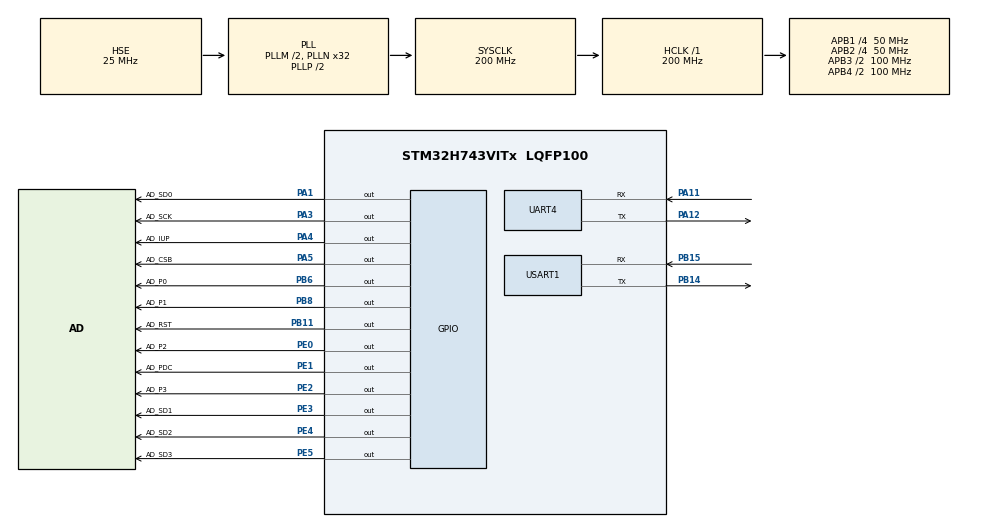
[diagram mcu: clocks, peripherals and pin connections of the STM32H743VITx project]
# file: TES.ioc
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CORTEX_M7.default_mode_Activation=1
Dma.Request0=UART4_RX
Dma.Request1=UART4_TX
Dma.UART4_RX.0.Direction=DMA_PERIPH_TO_MEMORY
Dma.UART4_RX.0.EventEnable=DISABLE
Dma.UART4_RX.0.FIFOMode=DMA_FIFOMODE_DISABLE
Dma.UART4_RX.0.Instance=DMA1_Stream0
Dma.UART4_RX.0.MemDataAlignment=DMA_MDATAALIGN_BYTE
Dma.UART4_RX.0.MemInc=DMA_MINC_ENABLE
Dma.UART4_RX.0.Mode=DMA_NORMAL
Dma.UART4_RX.0.PeriphDataAlignment=DMA_PDATAALIGN_BYTE
Dma.UART4_RX.0.PeriphInc=DMA_PINC_DISABLE
Dma.UART4_RX.0.Polarity=HAL_DMAMUX_REQ_GEN_RISING
Dma.UART4_RX.0.Priority=DMA_PRIORITY_LOW
Dma.UART4_RX.0.RequestNumber=1
Dma.UART4_RX.0.SignalID=NONE
Dma.UART4_RX.0.SyncEnable=DISABLE
Dma.UART4_RX.0.SyncPolarity=HAL_DMAMUX_SYNC_NO_EVENT
Dma.UART4_RX.0.SyncRequestNumber=1
Dma.UART4_RX.0.SyncSignalID=NONE
Dma.UART4_TX.1.Direction=DMA_MEMORY_TO_PERIPH
Dma.UART4_TX.1.EventEnable=DISABLE
Dma.UART4_TX.1.FIFOMode=DMA_FIFOMODE_DISABLE
Dma.UART4_TX.1.Instance=DMA1_Stream1
Dma.UART4_TX.1.MemDataAlignment=DMA_MDATAALIGN_BYTE
Dma.UART4_TX.1.MemInc=DMA_MINC_ENABLE
Dma.UART4_TX.1.Mode=DMA_NORMAL
Dma.UART4_TX.1.PeriphDataAlignment=DMA_PDATAALIGN_BYTE
Dma.UART4_TX.1.PeriphInc=DMA_PINC_DISABLE
Dma.UART4_TX.1.Polarity=HAL_DMAMUX_REQ_GEN_RISING
Dma.UART4_TX.1.Priority=DMA_PRIORITY_LOW
Dma.UART4_TX.1.RequestNumber=1
Dma.UART4_TX.1.SignalID=NONE
Dma.UART4_TX.1.SyncEnable=DISABLE
Dma.UART4_TX.1.SyncPolarity=HAL_DMAMUX_SYNC_NO_EVENT
Dma.UART4_TX.1.SyncRequestNumber=1
Dma.UART4_TX.1.SyncSignalID=NONE
Mcu.Family=STM32H7
Mcu.Name=STM32H743VITx
Mcu.Package=LQFP100
NVIC.DMA1_Stream0_IRQn=true\:0\:0\:false\:false\:true\:false\:true\:true
NVIC.DMA1_Stream1_IRQn=true\:0\:0\:false\:false\:true\:false\:true\:true
NVIC.PriorityGroup=NVIC_PRIORITYGROUP_4
NVIC.UART4_IRQn=true\:0\:0\:false\:false\:true\:true\:true\:true
NVIC.USART1_IRQn=true\:0\:0\:false\:false\:true\:true\:true\:true
PA1.GPIO_Label=AD_SD0
PA1.Signal=GPIO_Output
PA11.Mode=Asynchronous
PA11.Signal=UART4_RX
PA12.Mode=Asynchronous
PA12.Signal=UART4_TX
PA3.GPIO_Label=AD_SCK
PA3.Signal=GPIO_Output
PA4.GPIO_Label=AD_IUP
PA4.Signal=GPIO_Output
PA5.GPIO_Label=AD_CSB
PA5.Signal=GPIO_Output
PB11.GPIO_Label=AD_RST
PB11.Signal=GPIO_Output
PB14.Mode=Asynchronous
PB14.Signal=USART1_TX
PB15.Mode=Asynchronous
PB15.Signal=USART1_RX
PB6.GPIO_Label=AD_P0
PB6.Signal=GPIO_Output
PB8.GPIO_Label=AD_P1
PB8.Signal=GPIO_Output
PC14-OSC32_IN\ (OSC32_IN).Mode=LSE-External-Oscillator
PC14-OSC32_IN\ (OSC32_IN).Signal=RCC_OSC32_IN
PC15-OSC32_OUT\ (OSC32_OUT).Mode=LSE-External-Oscillator
PC15-OSC32_OUT\ (OSC32_OUT).Signal=RCC_OSC32_OUT
PE0.GPIO_Label=AD_P2
PE0.Signal=GPIO_Output
PE1.GPIO_Label=AD_PDC
PE1.Signal=GPIO_Output
PE2.GPIO_Label=AD_P3
PE2.Signal=GPIO_Output
PE3.GPIO_Label=AD_SD1
PE3.Signal=GPIO_Output
PE4.GPIO_Label=AD_SD2
PE4.Signal=GPIO_Output
PE5.GPIO_Label=AD_SD3
PE5.Signal=GPIO_Output
PH0-OSC_IN\ (PH0).Mode=HSE-External-Oscillator
PH0-OSC_IN\ (PH0).Signal=RCC_OSC_IN
PH1-OSC_OUT\ (PH1).Mode=HSE-External-Oscillator
PH1-OSC_OUT\ (PH1).Signal=RCC_OSC_OUT
ProjectManager.HeapSize=0x200
ProjectManager.StackSize=0x400
ProjectManager.TargetToolchain=MDK-ARM V5.32
RCC.ADCFreq_Value=50390625
RCC.APB1Freq_Value=50000000
RCC.APB2Freq_Value=50000000
RCC.APB3Freq_Value=100000000
RCC.APB4Freq_Value=100000000
RCC.CortexFreq_Value=200000000
RCC.D1PPRE=RCC_APB3_DIV2
RCC.D2PPRE1=RCC_APB1_DIV4
RCC.D2PPRE2=RCC_APB2_DIV4
RCC.D3PPRE=RCC_APB4_DIV2
RCC.DIVM1=2
RCC.DIVN1=32
RCC.HCLKFreq_Value=200000000
RCC.PLL2FRACN=0
RCC.PLL3FRACN=0
RCC.PLLFRACN=0
RCC.PLLSourceVirtual=RCC_PLLSOURCE_HSE
RCC.SYSCLKFreq_VALUE=200000000
RCC.SYSCLKSource=RCC_SYSCLKSOURCE_PLLCLK
RCC.USBFreq_Value=200000000
USART1.VirtualMode-Asynchronous=VM_ASYNC
VP_MEMORYMAP_VS_MEMORYMAP.Mode=CurAppReg
board=custom

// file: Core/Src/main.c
/* USER CODE BEGIN Header */
/**
  ******************************************************************************
  * @file           : main.c
  * @brief          : Main program body
  ******************************************************************************
  * @attention
  *
  * Copyright (c) 2025 STMicroelectronics.
  * All rights reserved.
  *
  * This software is licensed under terms that can be found in the LICENSE file
  * in the root directory of this software component.
  * If no LICENSE file comes with this software, it is provided AS-IS.
  *
  ******************************************************************************
  */
/* USER CODE END Header */
#include "main.h"
#include "dma.h"
#include "memorymap.h"
#include "usart.h"
#include "gpio.h"

/* USER CODE BEGIN Includes */
#include <stdio.h>
//
#include "ad9959.h"
#include "MyUsart.h"
//#include "ad9959.h"
/* USER CODE END Includes */

void SystemClock_Config(void);
static void MPU_Config(void);

/* USER CODE BEGIN 0 */
uint8_t TD[5] = {0x11, 0x22, 0x33, 0x44, 0x55};
uint32_t AD_freq;
uint8_t  AD_val;
/* USER CODE END 0 */

int main(void)
{

  /* MPU Configuration--------------------------------------------------------*/
  MPU_Config();

  /* MCU Configuration--------------------------------------------------------*/

  /* Reset of all peripherals, Initializes the Flash interface and the Systick. */
  HAL_Init();

  /* Configure the system clock */
  SystemClock_Config();

  /* Initialize all configured peripherals */
  MX_GPIO_Init();
  MX_DMA_Init();
  MX_USART1_UART_Init();
  MX_UART4_Init();
  /* USER CODE BEGIN 2 */
  HAL_GPIO_WritePin(GPIOB, GPIO_PIN_11, GPIO_PIN_RESET);
  HAL_GPIO_WritePin(GPIOB, GPIO_PIN_10, GPIO_PIN_RESET);
  HAL_GPIO_WritePin(GPIOE, GPIO_PIN_15, GPIO_PIN_RESET);
  HAL_GPIO_WritePin(GPIOE, GPIO_PIN_14, GPIO_PIN_RESET);

	for (uint8_t i = 0;i < 2;i ++){
		Serial_TJC_SendTxt(1, "It's My Go!!!!!");

	}
	Write_frequency(0, 20000);
	Write_Amplitude(0, 60);
	//Sweep_Frequency(0, 20000, 80000, 100, 1000, 0);
  /* USER CODE END 2 */

  /* Infinite loop */
  /* USER CODE BEGIN WHILE */
	while (1)
	{
		//Write_frequency(0, uwTick * 10 % 500000000);
		//Write_Amplitude(0, uwTick / 100 % 1024);
		//Write_Phase(0, uwTick % 16384);
		AD_freq = Get_Frequency();
		AD_val  = Get_Amplitude();
    /* USER CODE END WHILE */

    /* USER CODE BEGIN 3 */
		Serial_TJC_SendTxt(12, "Minute:%02d  Sencond:%02d.%03d",
							uwTick / 60000, uwTick % 60000 / 1000, uwTick % 1000);
		Serial_TJC_SendTxt(3, "Frequency: %12d Hz",
							AD_freq);
		Serial_TJC_SendTxt(4, "Amplitude: %4.2f mV",
							(float)AD_val / 2);
		HAL_Delay(10);
	}
  /* USER CODE END 3 */
}

void SystemClock_Config(void)
{
  RCC_OscInitTypeDef RCC_OscInitStruct = {0};
  RCC_ClkInitTypeDef RCC_ClkInitStruct = {0};

  /** Supply configuration update enable
  */
  HAL_PWREx_ConfigSupply(PWR_LDO_SUPPLY);

  /** Configure the main internal regulator output voltage
  */
  __HAL_PWR_VOLTAGESCALING_CONFIG(PWR_REGULATOR_VOLTAGE_SCALE3);

  while(!__HAL_PWR_GET_FLAG(PWR_FLAG_VOSRDY)) {}

  /** Initializes the RCC Oscillators according to the specified parameters
  * in the RCC_OscInitTypeDef structure.
  */
  RCC_OscInitStruct.OscillatorType = RCC_OSCILLATORTYPE_HSE;
  RCC_OscInitStruct.HSEState = RCC_HSE_ON;
  RCC_OscInitStruct.PLL.PLLState = RCC_PLL_ON;
  RCC_OscInitStruct.PLL.PLLSource = RCC_PLLSOURCE_HSE;
  RCC_OscInitStruct.PLL.PLLM = 2;
  RCC_OscInitStruct.PLL.PLLN = 32;
  RCC_OscInitStruct.PLL.PLLP = 2;
  RCC_OscInitStruct.PLL.PLLQ = 2;
  RCC_OscInitStruct.PLL.PLLR = 2;
  RCC_OscInitStruct.PLL.PLLRGE = RCC_PLL1VCIRANGE_3;
  RCC_OscInitStruct.PLL.PLLVCOSEL = RCC_PLL1VCOWIDE;
  RCC_OscInitStruct.PLL.PLLFRACN = 0;
  if (HAL_RCC_OscConfig(&RCC_OscInitStruct) != HAL_OK)
  {
    Error_Handler();
  }

  /** Initializes the CPU, AHB and APB buses clocks
  */
  RCC_ClkInitStruct.ClockType = RCC_CLOCKTYPE_HCLK|RCC_CLOCKTYPE_SYSCLK
                              |RCC_CLOCKTYPE_PCLK1|RCC_CLOCKTYPE_PCLK2
                              |RCC_CLOCKTYPE_D3PCLK1|RCC_CLOCKTYPE_D1PCLK1;
  RCC_ClkInitStruct.SYSCLKSource = RCC_SYSCLKSOURCE_PLLCLK;
  RCC_ClkInitStruct.SYSCLKDivider = RCC_SYSCLK_DIV1;
  RCC_ClkInitStruct.AHBCLKDivider = RCC_HCLK_DIV1;
  RCC_ClkInitStruct.APB3CLKDivider = RCC_APB3_DIV2;
  RCC_ClkInitStruct.APB1CLKDivider = RCC_APB1_DIV4;
  RCC_ClkInitStruct.APB2CLKDivider = RCC_APB2_DIV4;
  RCC_ClkInitStruct.APB4CLKDivider = RCC_APB4_DIV2;

  if (HAL_RCC_ClockConfig(&RCC_ClkInitStruct, FLASH_LATENCY_4) != HAL_OK)
  {
    Error_Handler();
  }
}

 /* MPU Configuration */

void MPU_Config(void)
{
  MPU_Region_InitTypeDef MPU_InitStruct = {0};

  /* Disables the MPU */
  HAL_MPU_Disable();

  /** Initializes and configures the Region and the memory to be protected
  */
  MPU_InitStruct.Enable = MPU_REGION_ENABLE;
  MPU_InitStruct.Number = MPU_REGION_NUMBER0;
  MPU_InitStruct.BaseAddress = 0x0;
  MPU_InitStruct.Size = MPU_REGION_SIZE_4GB;
  MPU_InitStruct.SubRegionDisable = 0x87;
  MPU_InitStruct.TypeExtField = MPU_TEX_LEVEL0;
  MPU_InitStruct.AccessPermission = MPU_REGION_NO_ACCESS;
  MPU_InitStruct.DisableExec = MPU_INSTRUCTION_ACCESS_DISABLE;
  MPU_InitStruct.IsShareable = MPU_ACCESS_SHAREABLE;
  MPU_InitStruct.IsCacheable = MPU_ACCESS_NOT_CACHEABLE;
  MPU_InitStruct.IsBufferable = MPU_ACCESS_NOT_BUFFERABLE;

  HAL_MPU_ConfigRegion(&MPU_InitStruct);
  /* Enables the MPU */
  HAL_MPU_Enable(MPU_PRIVILEGED_DEFAULT);

}

void Error_Handler(void)
{
  __disable_irq();
  while (1)
  {
  }
}
